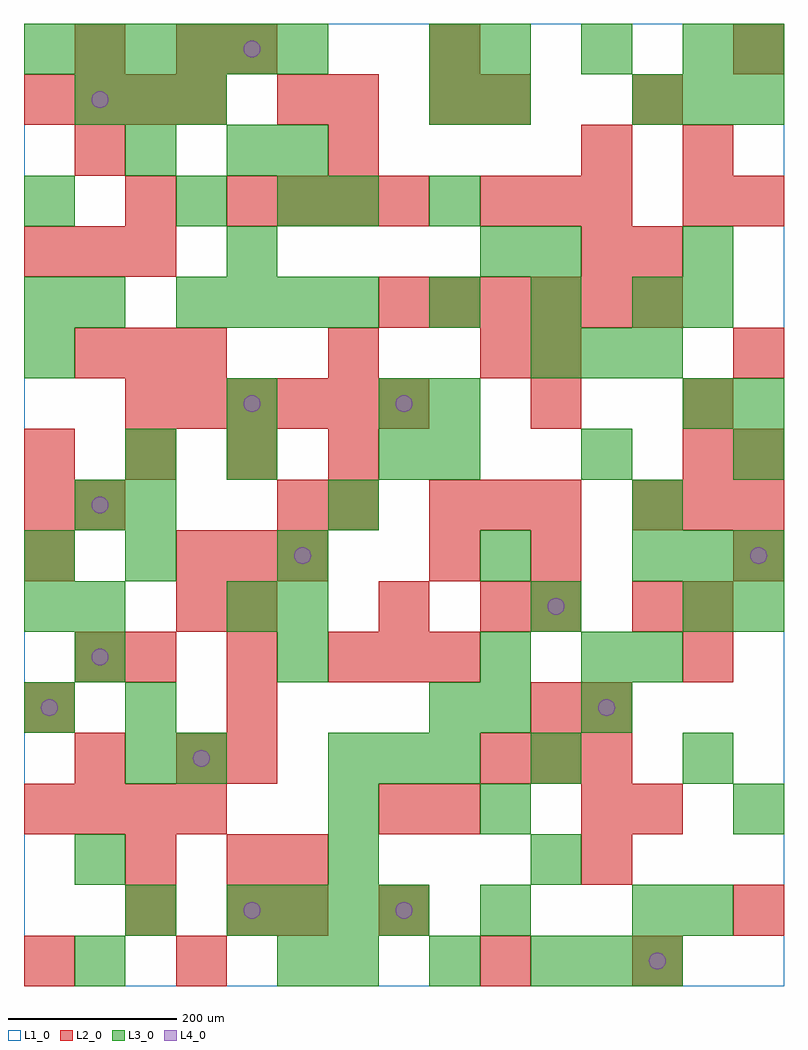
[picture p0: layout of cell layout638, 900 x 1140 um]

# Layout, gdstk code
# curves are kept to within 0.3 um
import gdstk
lib = gdstk.Library(unit=1e-6, precision=1e-09)
def R(c, l, rs):  # rectangles x0, y0, x1, y1
    for r in rs: c.add(gdstk.rectangle(r[:2], r[2:], *l))
def A(c, l, x, y, w, h, nx, ny, dx, dy):  # array of equal rectangles
    R(c, l, [(x+i*dx, y+j*dy, x+i*dx+w, y+j*dy+h) for i in range(nx) for j in range(ny)])
def P(c, l, *ps):  # polygons
    for p in ps: c.add(gdstk.Polygon(p, *l))
L1_0 = (1, 0)
L2_0 = (2, 0)
L3_0 = (3, 0)
L4_0 = (4, 0)

layout638 = lib.new_cell('layout638')
R(layout638, L1_0, [(0,0,900,1140)])
A(layout638, L2_0, 0, 180, 60, 60, 4, 2, 60, 840)
A(layout638, L2_0, 540, 240, 60, 60, 3, 2, 60, 660)
A(layout638, L2_0, 120, 360, 60, 60, 3, 1, 120, 0)
A(layout638, L2_0, 540, 420, 60, 60, 1, 3, 0, 300)
A(layout638, L2_0, 180, 480, 60, 60, 3, 1, 60, 0)
A(layout638, L2_0, 840, 480, 60, 60, 1, 3, 0, 120)
A(layout638, L2_0, 480, 540, 60, 60, 3, 1, 60, 0)
A(layout638, L2_0, 720, 540, 60, 60, 3, 1, 60, 0)
A(layout638, L2_0, 0, 600, 60, 60, 4, 1, 120, 0)
A(layout638, L2_0, 120, 660, 60, 60, 6, 1, 60, 0)
A(layout638, L2_0, 60, 720, 60, 60, 3, 1, 60, 0)
A(layout638, L2_0, 420, 780, 60, 60, 6, 1, 60, 0)
A(layout638, L2_0, 0, 840, 60, 60, 3, 1, 60, 0)
A(layout638, L2_0, 240, 900, 60, 60, 4, 1, 60, 0)
A(layout638, L2_0, 60, 960, 60, 60, 3, 1, 300, 0)
R(layout638, L2_0, [(0,0,60,60), (180,0,240,60), (540,0,600,60), (720,0,780,60), (120,60,180,120), (240,60,300,120), (300,60,360,120), (420,60,480,120), (840,60,900,120), (120,120,180,180), (240,120,300,180), (300,120,360,180), (660,120,720,180), (420,180,480,240), (480,180,540,240), (660,180,720,240), (720,180,780,240), (60,240,120,300), (180,240,240,300), (240,240,300,300), (0,300,60,360), (240,300,300,360), (600,300,660,360), (660,300,720,360), (60,360,120,420), (420,360,480,420), (480,360,540,420), (780,360,840,420), (180,420,240,480), (240,420,300,480), (420,420,480,480), (600,420,660,480), (720,420,780,480), (780,420,840,480), (0,480,60,540), (480,480,540,540), (600,480,660,540), (0,540,60,600), (60,540,120,600), (300,540,360,600), (360,540,420,600), (780,600,840,660), (600,660,660,720), (780,660,840,720), (360,720,420,780), (600,720,660,780), (660,840,720,900), (720,840,780,900), (120,900,180,960), (780,900,840,960), (840,900,900,960), (780,960,840,1020), (300,1020,360,1080), (360,1020,420,1080), (480,1020,540,1080), (720,1020,780,1080), (60,1080,120,1140), (180,1080,240,1140), (240,1080,300,1140), (480,1080,540,1140), (840,1080,900,1140)])
A(layout638, L3_0, 360, 0, 60, 60, 3, 1, 120, 0)
A(layout638, L3_0, 240, 60, 60, 60, 4, 1, 60, 0)
A(layout638, L3_0, 540, 60, 60, 60, 1, 3, 0, 120)
A(layout638, L3_0, 780, 60, 60, 60, 1, 3, 0, 180)
A(layout638, L3_0, 360, 180, 60, 60, 1, 3, 0, 360)
A(layout638, L3_0, 840, 180, 60, 60, 1, 3, 0, 240)
A(layout638, L3_0, 360, 240, 60, 60, 3, 1, 60, 0)
A(layout638, L3_0, 60, 360, 60, 60, 3, 1, 240, 0)
A(layout638, L3_0, 120, 480, 60, 60, 1, 3, 0, 60)
A(layout638, L3_0, 720, 480, 60, 60, 3, 2, 60, 540)
A(layout638, L3_0, 480, 600, 60, 60, 3, 1, 180, 0)
A(layout638, L3_0, 600, 720, 60, 60, 3, 1, 60, 0)
A(layout638, L3_0, 180, 780, 60, 60, 4, 1, 60, 0)
A(layout638, L3_0, 480, 780, 60, 60, 3, 1, 120, 0)
A(layout638, L3_0, 60, 1020, 60, 60, 3, 1, 60, 0)
A(layout638, L3_0, 0, 1080, 60, 60, 6, 1, 60, 0)
A(layout638, L3_0, 540, 1080, 60, 60, 3, 1, 120, 0)
R(layout638, L3_0, [(60,0,120,60), (300,0,360,60), (660,0,720,60), (720,0,780,60), (120,60,180,120), (720,60,780,120), (60,120,120,180), (360,120,420,180), (600,120,660,180), (120,240,180,300), (180,240,240,300), (600,240,660,300), (0,300,60,360), (120,300,180,360), (480,300,540,360), (660,300,720,360), (660,360,720,420), (720,360,780,420), (0,420,60,480), (60,420,120,480), (240,420,300,480), (300,420,360,480), (600,420,660,480), (0,480,60,540), (300,480,360,540), (540,480,600,540), (60,540,120,600), (720,540,780,600), (240,600,300,660), (420,600,480,660), (240,660,300,720), (420,660,480,720), (480,660,540,720), (780,660,840,720), (0,720,60,780), (0,780,60,840), (60,780,120,840), (780,780,840,840), (240,840,300,900), (540,840,600,900), (600,840,660,900), (780,840,840,900), (0,900,60,960), (180,900,240,960), (300,900,360,960), (480,900,540,960), (120,960,180,1020), (240,960,300,1020), (300,960,360,1020), (480,1020,540,1080), (540,1020,600,1080), (480,1080,540,1140), (840,1080,900,1140)])
P(layout638, L4_0, [(40,330),(39.239,333.827),(37.071,337.071),(33.827,339.239),(30,340),(26.173,339.239),(22.929,337.071),(20.761,333.827),(20,330),(20.761,326.173),(22.929,322.929),(26.173,320.761),(30,320),(33.827,320.761),(37.071,322.929),(39.239,326.173)],
  [(100,390),(99.239,393.827),(97.071,397.071),(93.827,399.239),(90,400),(86.173,399.239),(82.929,397.071),(80.761,393.827),(80,390),(80.761,386.173),(82.929,382.929),(86.173,380.761),(90,380),(93.827,380.761),(97.071,382.929),(99.239,386.173)],
  [(100,570),(99.239,573.827),(97.071,577.071),(93.827,579.239),(90,580),(86.173,579.239),(82.929,577.071),(80.761,573.827),(80,570),(80.761,566.173),(82.929,562.929),(86.173,560.761),(90,560),(93.827,560.761),(97.071,562.929),(99.239,566.173)],
  [(100,1050),(99.239,1053.827),(97.071,1057.071),(93.827,1059.239),(90,1060),(86.173,1059.239),(82.929,1057.071),(80.761,1053.827),(80,1050),(80.761,1046.173),(82.929,1042.929),(86.173,1040.761),(90,1040),(93.827,1040.761),(97.071,1042.929),(99.239,1046.173)],
  [(220,270),(219.239,273.827),(217.071,277.071),(213.827,279.239),(210,280),(206.173,279.239),(202.929,277.071),(200.761,273.827),(200,270),(200.761,266.173),(202.929,262.929),(206.173,260.761),(210,260),(213.827,260.761),(217.071,262.929),(219.239,266.173)],
  [(280,90),(279.239,93.827),(277.071,97.071),(273.827,99.239),(270,100),(266.173,99.239),(262.929,97.071),(260.761,93.827),(260,90),(260.761,86.173),(262.929,82.929),(266.173,80.761),(270,80),(273.827,80.761),(277.071,82.929),(279.239,86.173)],
  [(280,690),(279.239,693.827),(277.071,697.071),(273.827,699.239),(270,700),(266.173,699.239),(262.929,697.071),(260.761,693.827),(260,690),(260.761,686.173),(262.929,682.929),(266.173,680.761),(270,680),(273.827,680.761),(277.071,682.929),(279.239,686.173)],
  [(280,1110),(279.239,1113.827),(277.071,1117.071),(273.827,1119.239),(270,1120),(266.173,1119.239),(262.929,1117.071),(260.761,1113.827),(260,1110),(260.761,1106.173),(262.929,1102.929),(266.173,1100.761),(270,1100),(273.827,1100.761),(277.071,1102.929),(279.239,1106.173)],
  [(340,510),(339.239,513.827),(337.071,517.071),(333.827,519.239),(330,520),(326.173,519.239),(322.929,517.071),(320.761,513.827),(320,510),(320.761,506.173),(322.929,502.929),(326.173,500.761),(330,500),(333.827,500.761),(337.071,502.929),(339.239,506.173)],
  [(460,90),(459.239,93.827),(457.071,97.071),(453.827,99.239),(450,100),(446.173,99.239),(442.929,97.071),(440.761,93.827),(440,90),(440.761,86.173),(442.929,82.929),(446.173,80.761),(450,80),(453.827,80.761),(457.071,82.929),(459.239,86.173)],
  [(460,690),(459.239,693.827),(457.071,697.071),(453.827,699.239),(450,700),(446.173,699.239),(442.929,697.071),(440.761,693.827),(440,690),(440.761,686.173),(442.929,682.929),(446.173,680.761),(450,680),(453.827,680.761),(457.071,682.929),(459.239,686.173)],
  [(640,450),(639.239,453.827),(637.071,457.071),(633.827,459.239),(630,460),(626.173,459.239),(622.929,457.071),(620.761,453.827),(620,450),(620.761,446.173),(622.929,442.929),(626.173,440.761),(630,440),(633.827,440.761),(637.071,442.929),(639.239,446.173)],
  [(700,330),(699.239,333.827),(697.071,337.071),(693.827,339.239),(690,340),(686.173,339.239),(682.929,337.071),(680.761,333.827),(680,330),(680.761,326.173),(682.929,322.929),(686.173,320.761),(690,320),(693.827,320.761),(697.071,322.929),(699.239,326.173)],
  [(760,30),(759.239,33.827),(757.071,37.071),(753.827,39.239),(750,40),(746.173,39.239),(742.929,37.071),(740.761,33.827),(740,30),(740.761,26.173),(742.929,22.929),(746.173,20.761),(750,20),(753.827,20.761),(757.071,22.929),(759.239,26.173)],
  [(880,510),(879.239,513.827),(877.071,517.071),(873.827,519.239),(870,520),(866.173,519.239),(862.929,517.071),(860.761,513.827),(860,510),(860.761,506.173),(862.929,502.929),(866.173,500.761),(870,500),(873.827,500.761),(877.071,502.929),(879.239,506.173)])

lib.write_gds('layout638.gds')
